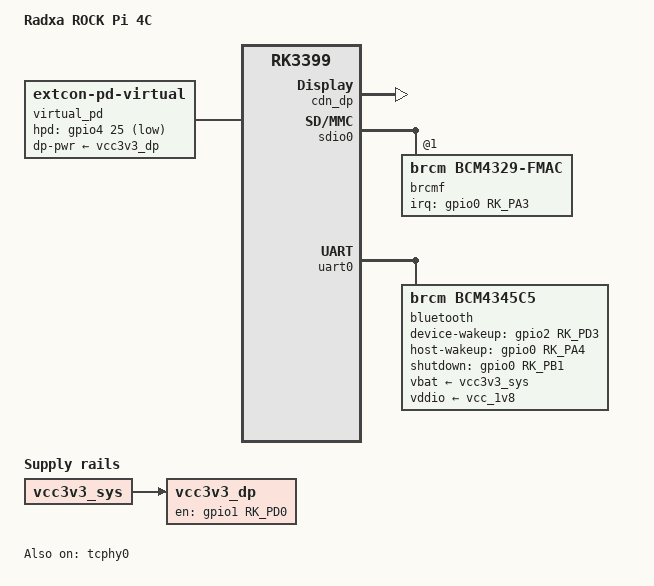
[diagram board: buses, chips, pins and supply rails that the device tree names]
// SPDX-License-Identifier: (GPL-2.0+ OR MIT)
/*
 * Copyright (c) 2019 Fuzhou Rockchip Electronics Co., Ltd
 * Copyright (c) 2019 Radxa Limited
 * Copyright (c) 2019 Amarula Solutions(India)
 */

/dts-v1/;
#include "rk3399-rock-pi-4.dtsi"

/ {
	model = "Radxa ROCK Pi 4C";
	compatible = "radxa,rockpi4c", "radxa,rockpi4", "rockchip,rk3399";

	aliases {
		mmc2 = &sdio0;
	};

	vcc3v3_dp: vcc3v3-dp-regulator {
		compatible = "regulator-fixed";
		enable-active-high;
		gpio = <&gpio1 RK_PD0 GPIO_ACTIVE_HIGH>;
		pinctrl-names = "default";
		pinctrl-0 = <&dp_pwr_en>;
		regulator-name = "vcc3v3_dp";
		regulator-always-on;
		regulator-boot-on;
		vin-supply = <&vcc3v3_sys>;
	};

	virtual_pd: virtual-pd {
		compatible = "linux,extcon-pd-virtual";
		/* 0: positive, 1: negative*/
		vpd,init-flip = <0>;
		/* 0: u2, 1: u3*/
		vpd,init-ss = <1>;
		/* 0: dfp, 1: ufp, 2: dp 3: dp/ufp */
		vpd,init-mode = <2>;
		hpd-gpios = <&gpio4 25 GPIO_ACTIVE_LOW>;
		pinctrl-names = "default";
		pinctrl-0 = <&hpd_en>;
		dp-pwr-supply = <&vcc3v3_dp>;
	};
};

&cdn_dp {
	extcon = <&virtual_pd>;
	status = "okay";
};

&es8316 {
	pinctrl-0 = <&hp_detect &hp_int>;
	pinctrl-names = "default";
	interrupt-parent = <&gpio1>;
	interrupts = <RK_PA1 IRQ_TYPE_LEVEL_HIGH>;
};

&pinctrl {
	usb2 {
		vcc5v0_host_en: vcc5v0-host-en {
			rockchip,pins = <3 RK_PD6 RK_FUNC_GPIO &pcfg_pull_none>;
		};
	};

	hpd {
		hpd_en: hpd-en {
			rockchip,pins = <4 RK_PD1 RK_FUNC_GPIO &pcfg_pull_none>;
		};
	};

	dp {
		dp_pwr_en: dp-pwr-en {
			rockchip,pins = <1 24 RK_FUNC_GPIO &pcfg_pull_up>;
		};
	};
};

&sdio0 {
	status = "okay";

	brcmf: wifi@1 {
		compatible = "brcm,bcm4329-fmac";
		reg = <1>;
		interrupt-parent = <&gpio0>;
		interrupts = <RK_PA3 GPIO_ACTIVE_HIGH>;
		interrupt-names = "host-wake";
		pinctrl-names = "default";
		pinctrl-0 = <&wifi_host_wake_l>;
	};
};

&sound {
	hp-det-gpio = <&gpio1 RK_PA0 GPIO_ACTIVE_HIGH>;
};

&tcphy0 {
	extcon = <&virtual_pd>;
	status = "okay";
};

&uart0 {
	status = "okay";

	bluetooth {
		compatible = "brcm,bcm4345c5";
		clocks = <&rk808 1>;
		clock-names = "lpo";
		device-wakeup-gpios = <&gpio2 RK_PD3 GPIO_ACTIVE_HIGH>;
		host-wakeup-gpios = <&gpio0 RK_PA4 GPIO_ACTIVE_HIGH>;
		shutdown-gpios = <&gpio0 RK_PB1 GPIO_ACTIVE_HIGH>;
		max-speed = <1500000>;
		pinctrl-names = "default";
		pinctrl-0 = <&bt_host_wake_l &bt_wake_l &bt_enable_h>;
		vbat-supply = <&vcc3v3_sys>;
		vddio-supply = <&vcc_1v8>;
	};
};

&vcc5v0_host {
	enable-active-high;
	gpio = <&gpio3 RK_PD6 GPIO_ACTIVE_HIGH>;
	pinctrl-names = "default";
	pinctrl-0 = <&vcc5v0_host_en>;
};
